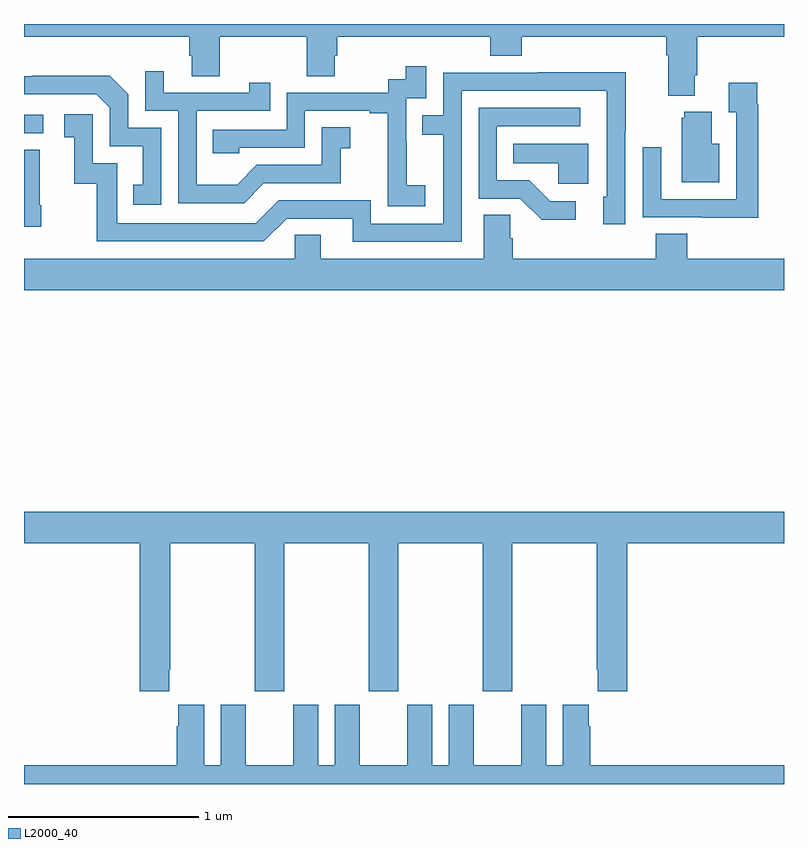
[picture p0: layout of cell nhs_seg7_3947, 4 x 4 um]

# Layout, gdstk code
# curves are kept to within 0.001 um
import gdstk
lib = gdstk.Library(unit=1e-6, precision=1e-09)
def R(c, l, rs):  # rectangles x0, y0, x1, y1
    for r in rs: c.add(gdstk.rectangle(r[:2], r[2:], *l))
def P(c, l, *ps):  # polygons
    for p in ps: c.add(gdstk.Polygon(p, *l))
L2000_40 = (2000, 40)

nhs_seg7_3947 = lib.new_cell('nhs_seg7_3947')
R(nhs_seg7_3947, L2000_40, [(361,1017.426,361.102,1017.522)])
P(nhs_seg7_3947, L2000_40, [(364.531,1017.73),(364.544,1017.73),(364.544,1017.932),(365,1017.932),(365,1018),(361,1018),(361,1017.932),(361.871,1017.932),(361.871,1017.834),(361.883,1017.834),(361.883,1017.724),(362.031,1017.724),(362.031,1017.932),(362.488,1017.932),(362.488,1017.724),(362.635,1017.724),(362.635,1017.834),(362.648,1017.834),(362.648,1017.932),(363.455,1017.932),(363.455,1017.833),(363.62,1017.833),(363.62,1017.932),(364.379,1017.932),(364.379,1017.836),(364.391,1017.836),(364.391,1017.623),(364.531,1017.623)],
  [(363.112,1017.151),(363.014,1017.151),(363.014,1017.38),(363.012,1017.38),(363.012,1017.609),(363.117,1017.609),(363.117,1017.778),(363.009,1017.778),(363.009,1017.708),(362.916,1017.708),(362.916,1017.639),(362.382,1017.639),(362.382,1017.444),(361.993,1017.444),(361.993,1017.321),(362.133,1017.321),(362.133,1017.348),(362.478,1017.348),(362.478,1017.543),(362.819,1017.543),(362.819,1017.531),(362.915,1017.531),(362.915,1017.247),(362.914,1017.247),(362.914,1017.041),(363.112,1017.041)],
  [(362.263,1017.162),(362.667,1017.162),(362.667,1017.347),(362.716,1017.347),(362.716,1017.457),(362.568,1017.457),(362.568,1017.258),(362.226,1017.258),(362.122,1017.154),(361.908,1017.154),(361.908,1017.543),(362.297,1017.543),(362.297,1017.691),(362.186,1017.691),(362.186,1017.639),(361.735,1017.639),(361.735,1017.751),(361.638,1017.751),(361.638,1017.543),(361.812,1017.543),(361.812,1017.057),(362.158,1017.057)],
  [(363.303,1017.648),(364.067,1017.648),(364.068,1017.09),(364.049,1017.09),(364.049,1016.946),(364.164,1016.946),(364.164,1017.439),(364.167,1017.439),(364.167,1017.746),(363.703,1017.746),(363.703,1017.744),(363.207,1017.744),(363.207,1017.519),(363.097,1017.519),(363.097,1017.418),(363.207,1017.418),(363.207,1016.949),(362.826,1016.949),(362.826,1017.072),(362.34,1017.072),(362.22,1016.952),(361.491,1016.952),(361.491,1017.267),(361.362,1017.267),(361.362,1017.526),(361.212,1017.526),(361.212,1017.405),(361.265,1017.405),(361.265,1017.159),(361.383,1017.159),(361.383,1016.856),(362.262,1016.856),(362.382,1016.976),(362.729,1016.976),(362.729,1016.853),(363.303,1016.853)],
  [(361.722,1017.453),(361.548,1017.453),(361.548,1017.63),(361.45,1017.728),(361.042,1017.728),(361.042,1017.726),(361,1017.726),(361,1017.63),(361.38,1017.63),(361.452,1017.558),(361.452,1017.357),(361.625,1017.357),(361.625,1017.153),(361.576,1017.153),(361.576,1017.048),(361.722,1017.048)],
  [(364.865,1017.578),(364.858,1017.578),(364.858,1017.691),(364.709,1017.691),(364.709,1017.535),(364.749,1017.535),(364.749,1017.078),(364.353,1017.078),(364.353,1017.352),(364.257,1017.352),(364.257,1016.982),(364.573,1016.982),(364.573,1016.981),(364.865,1016.981)],
  [(363.904,1017.066),(363.769,1017.066),(363.658,1017.177),(363.489,1017.177),(363.489,1017.462),(363.928,1017.462),(363.928,1017.558),(363.393,1017.558),(363.393,1017.081),(363.612,1017.081),(363.725,1016.969),(363.904,1016.969)],
  [(364.66,1017.37),(364.621,1017.37),(364.621,1017.538),(364.475,1017.538),(364.475,1017.507),(364.463,1017.507),(364.463,1017.167),(364.66,1017.167)],
  [(363.97,1017.37),(363.574,1017.37),(363.574,1017.266),(363.813,1017.266),(363.813,1017.158),(363.97,1017.158)],
  [(361.092,1017.046),(361.084,1017.046),(361.084,1017.337),(361,1017.337),(361,1016.934),(361.092,1016.934)],
  [(365,1016.764),(364.49,1016.764),(364.49,1016.897),(364.325,1016.897),(364.325,1016.764),(363.572,1016.764),(363.572,1016.873),(363.558,1016.873),(363.558,1016.996),(363.419,1016.996),(363.419,1016.764),(362.563,1016.764),(362.563,1016.891),(362.424,1016.891),(362.424,1016.764),(361,1016.764),(361,1016.6),(365,1016.6)],
  [(361,1015.268),(361.61,1015.268),(361.61,1014.489),(361.765,1014.489),(361.765,1014.601),(361.77,1014.601),(361.77,1015.268),(362.215,1015.268),(362.215,1014.489),(362.37,1014.489),(362.37,1015.268),(362.815,1015.268),(362.815,1014.489),(362.97,1014.489),(362.97,1015.268),(363.415,1015.268),(363.415,1014.489),(363.57,1014.489),(363.57,1015.268),(364.015,1015.268),(364.015,1014.601),(364.019,1014.601),(364.019,1014.489),(364.175,1014.489),(364.175,1015.268),(365,1015.268),(365,1015.432),(361,1015.432)],
  [(365,1014.1),(363.98,1014.1),(363.98,1014.305),(363.973,1014.305),(363.973,1014.418),(363.836,1014.418),(363.836,1014.1),(363.748,1014.1),(363.748,1014.418),(363.617,1014.418),(363.617,1014.1),(363.367,1014.1),(363.367,1014.418),(363.236,1014.418),(363.236,1014.1),(363.148,1014.1),(363.148,1014.418),(363.017,1014.418),(363.017,1014.1),(362.767,1014.1),(362.767,1014.418),(362.636,1014.418),(362.636,1014.1),(362.548,1014.1),(362.548,1014.418),(362.417,1014.418),(362.417,1014.1),(362.167,1014.1),(362.167,1014.418),(362.036,1014.418),(362.036,1014.1),(361.948,1014.1),(361.948,1014.418),(361.811,1014.418),(361.811,1014.305),(361.805,1014.305),(361.805,1014.1),(361,1014.1),(361,1014),(365,1014)])

lib.write_gds('nhs_seg7_3947.gds')
